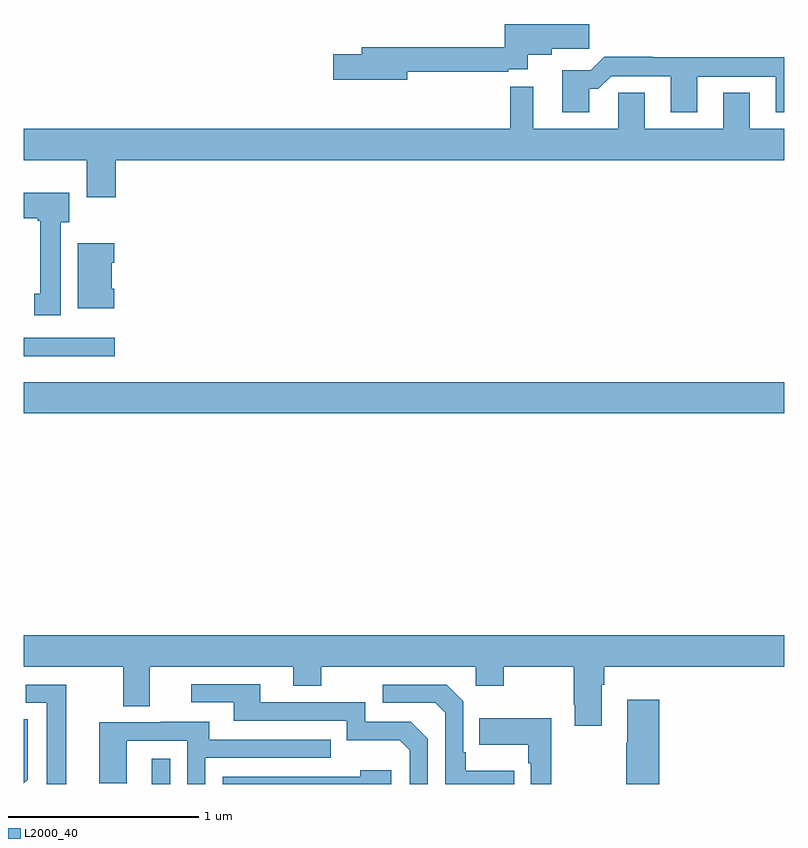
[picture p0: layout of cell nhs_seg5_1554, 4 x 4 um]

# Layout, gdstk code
import gdstk
lib = gdstk.Library(unit=1e-6, precision=1e-09)
def R(c, l, rs):  # rectangles x0, y0, x1, y1
    for r in rs: c.add(gdstk.rectangle(r[:2], r[2:], *l))
def P(c, l, *ps):  # polygons
    for p in ps: c.add(gdstk.Polygon(p, *l))
L2000_40 = (2000, 40)

nhs_seg5_1554 = lib.new_cell('nhs_seg5_1554')
R(nhs_seg5_1554, L2000_40, [(205.673,866.799,205.77,866.932), (205,868.748,209,868.912), (205,869.048,205.48,869.145)])
P(nhs_seg5_1554, L2000_40, [(207.016,870.546),(207.548,870.546),(207.548,870.558),(207.652,870.558),(207.652,870.635),(207.778,870.635),(207.778,870.667),(207.973,870.667),(207.973,870.796),(207.53,870.796),(207.53,870.674),(206.777,870.674),(206.777,870.638),(206.628,870.638),(206.628,870.503),(207.016,870.503)],
  [(207.973,870.455),(208.022,870.455),(208.089,870.522),(208.403,870.522),(208.403,870.333),(208.543,870.333),(208.543,870.519),(208.955,870.519),(208.955,870.333),(209,870.333),(209,870.62),(208.307,870.62),(208.307,870.623),(208.052,870.623),(207.982,870.553),(207.833,870.553),(207.833,870.333),(207.973,870.333)],
  [(205.484,870.08),(209,870.08),(209,870.244),(208.819,870.244),(208.819,870.434),(208.679,870.434),(208.679,870.244),(208.267,870.244),(208.267,870.434),(208.128,870.434),(208.128,870.244),(207.679,870.244),(207.679,870.466),(207.558,870.466),(207.558,870.244),(205,870.244),(205,870.08),(205.331,870.08),(205.331,869.886),(205.484,869.886)],
  [(205.195,869.754),(205.24,869.754),(205.24,869.908),(205,869.908),(205,869.774),(205.075,869.774),(205.075,869.761),(205.088,869.761),(205.088,869.378),(205.055,869.378),(205.055,869.265),(205.195,869.265)],
  [(205.475,869.404),(205.462,869.404),(205.462,869.54),(205.475,869.54),(205.475,869.644),(205.283,869.644),(205.283,869.3),(205.475,869.3)],
  [(208.039,867.32),(208.052,867.32),(208.052,867.416),(209,867.416),(209,867.58),(205,867.58),(205,867.416),(205.523,867.416),(205.523,867.208),(205.663,867.208),(205.663,867.416),(206.417,867.416),(206.417,867.317),(206.565,867.317),(206.565,867.416),(207.378,867.416),(207.378,867.317),(207.525,867.317),(207.525,867.416),(207.892,867.416),(207.892,867.217),(207.899,867.217),(207.899,867.105),(208.039,867.105)],
  [(207.126,867.036),(207.036,867.126),(206.796,867.126),(206.796,867.228),(206.245,867.228),(206.245,867.324),(205.881,867.324),(205.881,867.228),(206.105,867.228),(206.105,867.132),(206.7,867.132),(206.7,867.029),(206.977,867.029),(207.03,866.976),(207.03,866.799),(207.126,866.799)],
  [(205.225,867.321),(205.011,867.321),(205.011,867.225),(205.121,867.225),(205.121,866.799),(205.225,866.799)],
  [(207.581,866.869),(207.325,866.869),(207.325,866.965),(207.312,866.965),(207.312,867.234),(207.225,867.321),(206.889,867.321),(206.889,867.225),(207.165,867.225),(207.216,867.174),(207.216,866.799),(207.581,866.799)],
  [(208.343,867.241),(208.175,867.241),(208.175,867.017),(208.168,867.017),(208.168,866.799),(208.343,866.799)],
  [(207.775,867.145),(207.397,867.145),(207.397,867.005),(207.654,867.005),(207.654,866.909),(207.666,866.909),(207.666,866.799),(207.775,866.799)],
  [(205.02,866.822),(205.02,867.14),(205,867.14),(205,866.802)],
  [(205.956,866.937),(206.615,866.937),(206.615,867.033),(205.975,867.033),(205.975,867.127),(205.721,867.127),(205.721,867.123),(205.397,867.123),(205.397,866.803),(205.542,866.803),(205.542,867.027),(205.86,867.027),(205.86,866.799),(205.956,866.799)],
  [(206.932,866.872),(206.771,866.872),(206.771,866.838),(206.046,866.838),(206.046,866.799),(206.932,866.799)])

lib.write_gds('nhs_seg5_1554.gds')
